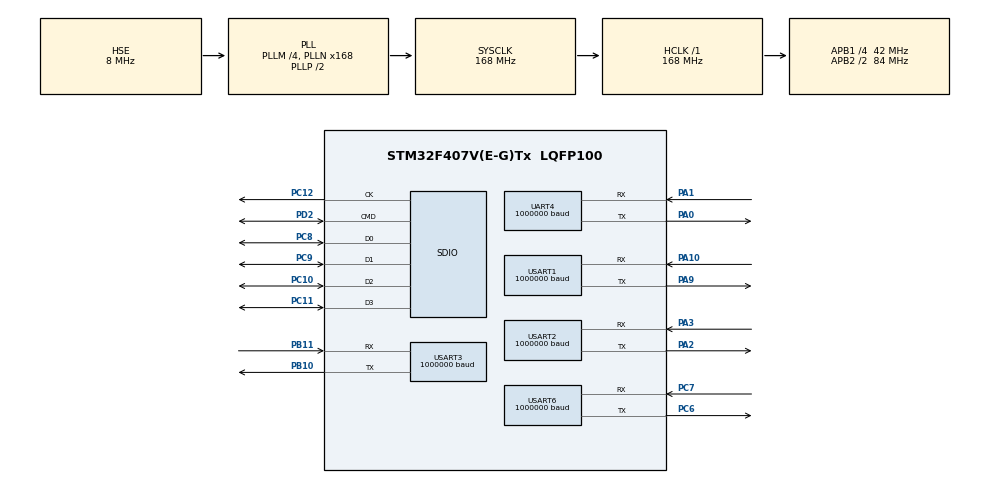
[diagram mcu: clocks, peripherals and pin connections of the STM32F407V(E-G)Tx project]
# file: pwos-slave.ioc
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Dma.Request0=UART4_RX
Dma.Request1=USART1_RX
Dma.Request2=USART2_RX
Dma.Request3=USART3_RX
Dma.Request4=USART6_RX
Dma.Request5=UART4_TX
Dma.Request6=USART1_TX
Dma.Request7=USART2_TX
Dma.Request8=USART3_TX
Dma.Request9=USART6_TX
Dma.UART4_RX.0.Direction=DMA_PERIPH_TO_MEMORY
Dma.UART4_RX.0.FIFOMode=DMA_FIFOMODE_DISABLE
Dma.UART4_RX.0.Instance=DMA1_Stream2
Dma.UART4_RX.0.MemDataAlignment=DMA_MDATAALIGN_BYTE
Dma.UART4_RX.0.MemInc=DMA_MINC_ENABLE
Dma.UART4_RX.0.Mode=DMA_NORMAL
Dma.UART4_RX.0.PeriphDataAlignment=DMA_PDATAALIGN_BYTE
Dma.UART4_RX.0.PeriphInc=DMA_PINC_DISABLE
Dma.UART4_RX.0.Priority=DMA_PRIORITY_VERY_HIGH
Dma.UART4_TX.5.Direction=DMA_MEMORY_TO_PERIPH
Dma.UART4_TX.5.FIFOMode=DMA_FIFOMODE_DISABLE
Dma.UART4_TX.5.Instance=DMA1_Stream4
Dma.UART4_TX.5.MemDataAlignment=DMA_MDATAALIGN_BYTE
Dma.UART4_TX.5.MemInc=DMA_MINC_ENABLE
Dma.UART4_TX.5.Mode=DMA_NORMAL
Dma.UART4_TX.5.PeriphDataAlignment=DMA_PDATAALIGN_BYTE
Dma.UART4_TX.5.PeriphInc=DMA_PINC_DISABLE
Dma.UART4_TX.5.Priority=DMA_PRIORITY_VERY_HIGH
Dma.USART1_RX.1.Direction=DMA_PERIPH_TO_MEMORY
Dma.USART1_RX.1.FIFOMode=DMA_FIFOMODE_DISABLE
Dma.USART1_RX.1.Instance=DMA2_Stream2
Dma.USART1_RX.1.MemDataAlignment=DMA_MDATAALIGN_BYTE
Dma.USART1_RX.1.MemInc=DMA_MINC_ENABLE
Dma.USART1_RX.1.Mode=DMA_NORMAL
Dma.USART1_RX.1.PeriphDataAlignment=DMA_PDATAALIGN_BYTE
Dma.USART1_RX.1.PeriphInc=DMA_PINC_DISABLE
Dma.USART1_RX.1.Priority=DMA_PRIORITY_VERY_HIGH
Dma.USART1_TX.6.Direction=DMA_MEMORY_TO_PERIPH
Dma.USART1_TX.6.FIFOMode=DMA_FIFOMODE_DISABLE
Dma.USART1_TX.6.Instance=DMA2_Stream7
Dma.USART1_TX.6.MemDataAlignment=DMA_MDATAALIGN_BYTE
Dma.USART1_TX.6.MemInc=DMA_MINC_ENABLE
Dma.USART1_TX.6.Mode=DMA_NORMAL
Dma.USART1_TX.6.PeriphDataAlignment=DMA_PDATAALIGN_BYTE
Dma.USART1_TX.6.PeriphInc=DMA_PINC_DISABLE
Dma.USART1_TX.6.Priority=DMA_PRIORITY_VERY_HIGH
Dma.USART2_RX.2.Direction=DMA_PERIPH_TO_MEMORY
Dma.USART2_RX.2.FIFOMode=DMA_FIFOMODE_DISABLE
Dma.USART2_RX.2.Instance=DMA1_Stream5
Dma.USART2_RX.2.MemDataAlignment=DMA_MDATAALIGN_BYTE
Dma.USART2_RX.2.MemInc=DMA_MINC_ENABLE
Dma.USART2_RX.2.Mode=DMA_NORMAL
Dma.USART2_RX.2.PeriphDataAlignment=DMA_PDATAALIGN_BYTE
Dma.USART2_RX.2.PeriphInc=DMA_PINC_DISABLE
Dma.USART2_RX.2.Priority=DMA_PRIORITY_VERY_HIGH
Dma.USART2_TX.7.Direction=DMA_MEMORY_TO_PERIPH
Dma.USART2_TX.7.FIFOMode=DMA_FIFOMODE_DISABLE
Dma.USART2_TX.7.Instance=DMA1_Stream6
Dma.USART2_TX.7.MemDataAlignment=DMA_MDATAALIGN_BYTE
Dma.USART2_TX.7.MemInc=DMA_MINC_ENABLE
Dma.USART2_TX.7.Mode=DMA_NORMAL
Dma.USART2_TX.7.PeriphDataAlignment=DMA_PDATAALIGN_BYTE
Dma.USART2_TX.7.PeriphInc=DMA_PINC_DISABLE
Dma.USART2_TX.7.Priority=DMA_PRIORITY_VERY_HIGH
Dma.USART3_RX.3.Direction=DMA_PERIPH_TO_MEMORY
Dma.USART3_RX.3.FIFOMode=DMA_FIFOMODE_DISABLE
Dma.USART3_RX.3.Instance=DMA1_Stream1
Dma.USART3_RX.3.MemDataAlignment=DMA_MDATAALIGN_BYTE
Dma.USART3_RX.3.MemInc=DMA_MINC_ENABLE
Dma.USART3_RX.3.Mode=DMA_NORMAL
Dma.USART3_RX.3.PeriphDataAlignment=DMA_PDATAALIGN_BYTE
Dma.USART3_RX.3.PeriphInc=DMA_PINC_DISABLE
Dma.USART3_RX.3.Priority=DMA_PRIORITY_VERY_HIGH
Dma.USART3_TX.8.Direction=DMA_MEMORY_TO_PERIPH
Dma.USART3_TX.8.FIFOMode=DMA_FIFOMODE_DISABLE
Dma.USART3_TX.8.Instance=DMA1_Stream3
Dma.USART3_TX.8.MemDataAlignment=DMA_MDATAALIGN_BYTE
Dma.USART3_TX.8.MemInc=DMA_MINC_ENABLE
Dma.USART3_TX.8.Mode=DMA_NORMAL
Dma.USART3_TX.8.PeriphDataAlignment=DMA_PDATAALIGN_BYTE
Dma.USART3_TX.8.PeriphInc=DMA_PINC_DISABLE
Dma.USART3_TX.8.Priority=DMA_PRIORITY_VERY_HIGH
Dma.USART6_RX.4.Direction=DMA_PERIPH_TO_MEMORY
Dma.USART6_RX.4.FIFOMode=DMA_FIFOMODE_DISABLE
Dma.USART6_RX.4.Instance=DMA2_Stream1
Dma.USART6_RX.4.MemDataAlignment=DMA_MDATAALIGN_BYTE
Dma.USART6_RX.4.MemInc=DMA_MINC_ENABLE
Dma.USART6_RX.4.Mode=DMA_NORMAL
Dma.USART6_RX.4.PeriphDataAlignment=DMA_PDATAALIGN_BYTE
Dma.USART6_RX.4.PeriphInc=DMA_PINC_DISABLE
Dma.USART6_RX.4.Priority=DMA_PRIORITY_VERY_HIGH
Dma.USART6_TX.9.Direction=DMA_MEMORY_TO_PERIPH
Dma.USART6_TX.9.FIFOMode=DMA_FIFOMODE_DISABLE
Dma.USART6_TX.9.Instance=DMA2_Stream6
Dma.USART6_TX.9.MemDataAlignment=DMA_MDATAALIGN_BYTE
Dma.USART6_TX.9.MemInc=DMA_MINC_ENABLE
Dma.USART6_TX.9.Mode=DMA_NORMAL
Dma.USART6_TX.9.PeriphDataAlignment=DMA_PDATAALIGN_BYTE
Dma.USART6_TX.9.PeriphInc=DMA_PINC_DISABLE
Dma.USART6_TX.9.Priority=DMA_PRIORITY_VERY_HIGH
FREERTOS.Tasks01=defaultTask,24,128,StartDefaultTask,Default,NULL,Dynamic,NULL,NULL
Mcu.Family=STM32F4
Mcu.Name=STM32F407V(E-G)Tx
Mcu.Package=LQFP100
NVIC.DMA1_Stream1_IRQn=true\:5\:0\:false\:false\:true\:true\:false\:true\:true
NVIC.DMA1_Stream2_IRQn=true\:5\:0\:false\:false\:true\:true\:false\:true\:true
NVIC.DMA1_Stream3_IRQn=true\:5\:0\:false\:false\:true\:true\:false\:true\:true
NVIC.DMA1_Stream4_IRQn=true\:5\:0\:false\:false\:true\:true\:false\:true\:true
NVIC.DMA1_Stream5_IRQn=true\:5\:0\:false\:false\:true\:true\:false\:true\:true
NVIC.DMA1_Stream6_IRQn=true\:5\:0\:false\:false\:true\:true\:false\:true\:true
NVIC.DMA2_Stream1_IRQn=true\:5\:0\:false\:false\:true\:true\:false\:true\:true
NVIC.DMA2_Stream2_IRQn=true\:5\:0\:false\:false\:true\:true\:false\:true\:true
NVIC.DMA2_Stream6_IRQn=true\:5\:0\:false\:false\:true\:true\:false\:true\:true
NVIC.DMA2_Stream7_IRQn=true\:5\:0\:false\:false\:true\:true\:false\:true\:true
NVIC.PriorityGroup=NVIC_PRIORITYGROUP_4
NVIC.TIM1_UP_TIM10_IRQn=true\:15\:0\:false\:false\:true\:false\:false\:true\:true
NVIC.TimeBase=TIM1_UP_TIM10_IRQn
NVIC.TimeBaseIP=TIM1
NVIC.UART4_IRQn=true\:5\:0\:false\:false\:true\:true\:true\:true\:true
NVIC.USART1_IRQn=true\:5\:0\:false\:false\:true\:true\:true\:true\:true
NVIC.USART2_IRQn=true\:5\:0\:false\:false\:true\:true\:true\:true\:true
NVIC.USART3_IRQn=true\:5\:0\:false\:false\:true\:true\:true\:true\:true
NVIC.USART6_IRQn=true\:5\:0\:false\:false\:true\:true\:true\:true\:true
PA0-WKUP.GPIO_PuPd=GPIO_PULLUP
PA0-WKUP.Mode=Asynchronous
PA0-WKUP.Signal=UART4_TX
PA1.GPIO_PuPd=GPIO_PULLUP
PA1.Mode=Asynchronous
PA1.Signal=UART4_RX
PA10.GPIO_PuPd=GPIO_PULLUP
PA10.Mode=Asynchronous
PA10.Signal=USART1_RX
PA13.Mode=Serial_Wire
PA13.Signal=SYS_JTMS-SWDIO
PA14.Mode=Serial_Wire
PA14.Signal=SYS_JTCK-SWCLK
PA2.GPIO_PuPd=GPIO_PULLUP
PA2.Mode=Asynchronous
PA2.Signal=USART2_TX
PA3.GPIO_PuPd=GPIO_PULLUP
PA3.Mode=Asynchronous
PA3.Signal=USART2_RX
PA9.GPIO_PuPd=GPIO_PULLUP
PA9.Mode=Asynchronous
PA9.Signal=USART1_TX
PB10.GPIO_ModeDefaultPP=GPIO_MODE_AF_PP
PB10.GPIO_PuPd=GPIO_PULLUP
PB10.Mode=Asynchronous
PB10.Signal=USART3_TX
PB11.GPIO_PuPd=GPIO_PULLUP
PB11.Mode=Asynchronous
PB11.Signal=USART3_RX
PC10.Mode=SD_4_bits_Wide_bus
PC10.Signal=SDIO_D2
PC11.Mode=SD_4_bits_Wide_bus
PC11.Signal=SDIO_D3
PC12.Mode=SD_4_bits_Wide_bus
PC12.Signal=SDIO_CK
PC6.GPIO_PuPd=GPIO_PULLUP
PC6.Mode=Asynchronous
PC6.Signal=USART6_TX
PC7.GPIO_PuPd=GPIO_PULLUP
PC7.Mode=Asynchronous
PC7.Signal=USART6_RX
PC8.Mode=SD_4_bits_Wide_bus
PC8.Signal=SDIO_D0
PC9.Mode=SD_4_bits_Wide_bus
PC9.Signal=SDIO_D1
PD2.Mode=SD_4_bits_Wide_bus
PD2.Signal=SDIO_CMD
PH0-OSC_IN.Mode=HSE-External-Oscillator
PH0-OSC_IN.Signal=RCC_OSC_IN
PH1-OSC_OUT.Mode=HSE-External-Oscillator
PH1-OSC_OUT.Signal=RCC_OSC_OUT
ProjectManager.HeapSize=0x200
ProjectManager.StackSize=0x400
ProjectManager.TargetToolchain=CMake
RCC.48MHZClocksFreq_Value=48000000
RCC.AHBFreq_Value=168000000
RCC.APB1CLKDivider=RCC_HCLK_DIV4
RCC.APB1Freq_Value=42000000
RCC.APB1TimFreq_Value=84000000
RCC.APB2CLKDivider=RCC_HCLK_DIV2
RCC.APB2Freq_Value=84000000
RCC.APB2TimFreq_Value=168000000
RCC.CortexFreq_Value=168000000
RCC.HCLKFreq_Value=168000000
RCC.HSE_VALUE=8000000
RCC.HSI_VALUE=16000000
RCC.LSE_VALUE=32768
RCC.PLLM=4
RCC.PLLN=168
RCC.PLLQ=7
RCC.PLLSourceVirtual=RCC_PLLSOURCE_HSE
RCC.SYSCLKFreq_VALUE=168000000
RCC.SYSCLKSource=RCC_SYSCLKSOURCE_PLLCLK
RCC.VCOOutputFreq_Value=336000000
SDIO.ClockBypass=SDIO_CLOCK_BYPASS_DISABLE
SDIO.ClockDiv=4
UART4.BaudRate=1000000
UART4.VirtualMode=Asynchronous
USART1.BaudRate=1000000
USART1.VirtualMode=VM_ASYNC
USART2.BaudRate=1000000
USART2.VirtualMode=VM_ASYNC
USART3.BaudRate=1000000
USART3.VirtualMode=VM_ASYNC
USART6.BaudRate=1000000
USART6.VirtualMode=VM_ASYNC
VP_FREERTOS_VS_CMSIS_V2.Mode=CMSIS_V2
VP_SYS_VS_tim1.Mode=TIM1
board=custom

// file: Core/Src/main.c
/* USER CODE BEGIN Header */
/**
 ******************************************************************************
 * @file           : main.c
 * @brief          : Main program body
 ******************************************************************************
 * @attention
 *
 * Copyright (c) 2026 STMicroelectronics.
 * All rights reserved.
 *
 * This software is licensed under terms that can be found in the LICENSE file
 * in the root directory of this software component.
 * If no LICENSE file comes with this software, it is provided AS-IS.
 *
 ******************************************************************************
 */
/* USER CODE END Header */
#include "main.h"
#include "cmsis_os.h"
#include "dma.h"
#include "sdio.h"
#include "usart.h"
#include "gpio.h"

void SystemClock_Config(void);
void MX_FREERTOS_Init(void);

int main(void)
{

  /* MCU Configuration--------------------------------------------------------*/

  /* Reset of all peripherals, Initializes the Flash interface and the Systick. */
  HAL_Init();

  /* Configure the system clock */
  SystemClock_Config();

  /* Initialize all configured peripherals */
  MX_GPIO_Init();
  MX_DMA_Init();
  MX_USART2_UART_Init();
  MX_SDIO_SD_Init();
  MX_USART1_UART_Init();
  MX_UART4_Init();
  MX_USART3_UART_Init();
  MX_USART6_UART_Init();
  /* USER CODE BEGIN 2 */
  /*
   * M2 开始后，main 只保留 CubeMX 外设初始化。
   * 任务、队列、UART DMA 收包入口都在 MX_FREERTOS_Init() 的用户区装配。
   */
  /* USER CODE END 2 */

  /* Init scheduler */
  osKernelInitialize();  /* Call init function for freertos objects (in cmsis_os2.c) */
  MX_FREERTOS_Init();

  /* Start scheduler */
  osKernelStart();

  /* We should never get here as control is now taken by the scheduler */

  /* Infinite loop */
  while (1) {

  }
}

void SystemClock_Config(void)
{
  RCC_OscInitTypeDef RCC_OscInitStruct = {0};
  RCC_ClkInitTypeDef RCC_ClkInitStruct = {0};

  /** Configure the main internal regulator output voltage
  */
  __HAL_RCC_PWR_CLK_ENABLE();
  __HAL_PWR_VOLTAGESCALING_CONFIG(PWR_REGULATOR_VOLTAGE_SCALE1);

  /** Initializes the RCC Oscillators according to the specified parameters
  * in the RCC_OscInitTypeDef structure.
  */
  RCC_OscInitStruct.OscillatorType = RCC_OSCILLATORTYPE_HSE;
  RCC_OscInitStruct.HSEState = RCC_HSE_ON;
  RCC_OscInitStruct.PLL.PLLState = RCC_PLL_ON;
  RCC_OscInitStruct.PLL.PLLSource = RCC_PLLSOURCE_HSE;
  RCC_OscInitStruct.PLL.PLLM = 4;
  RCC_OscInitStruct.PLL.PLLN = 168;
  RCC_OscInitStruct.PLL.PLLP = RCC_PLLP_DIV2;
  RCC_OscInitStruct.PLL.PLLQ = 7;
  if (HAL_RCC_OscConfig(&RCC_OscInitStruct) != HAL_OK)
  {
    Error_Handler();
  }

  /** Initializes the CPU, AHB and APB buses clocks
  */
  RCC_ClkInitStruct.ClockType = RCC_CLOCKTYPE_HCLK|RCC_CLOCKTYPE_SYSCLK
                              |RCC_CLOCKTYPE_PCLK1|RCC_CLOCKTYPE_PCLK2;
  RCC_ClkInitStruct.SYSCLKSource = RCC_SYSCLKSOURCE_PLLCLK;
  RCC_ClkInitStruct.AHBCLKDivider = RCC_SYSCLK_DIV1;
  RCC_ClkInitStruct.APB1CLKDivider = RCC_HCLK_DIV4;
  RCC_ClkInitStruct.APB2CLKDivider = RCC_HCLK_DIV2;

  if (HAL_RCC_ClockConfig(&RCC_ClkInitStruct, FLASH_LATENCY_5) != HAL_OK)
  {
    Error_Handler();
  }
}

void HAL_TIM_PeriodElapsedCallback(TIM_HandleTypeDef *htim)
{
  if (htim->Instance == TIM1)
  {
    HAL_IncTick();
  }
}

void Error_Handler(void)
{
  /* USER CODE BEGIN Error_Handler_Debug */
  /* USART2 属于 mesh 数据面，错误路径不能向链路注入调试文本。 */
  __disable_irq();
  while (1) {
  }
  /* USER CODE END Error_Handler_Debug */
}
#ifdef USE_FULL_ASSERT
/**
  * @brief  Reports the name of the source file and the source line number
  *         where the assert_param error has occurred.
  * @param  file: pointer to the source file name
  * @param  line: assert_param error line source number
  * @retval None
  */
void assert_failed(uint8_t *file, uint32_t line)
{
  /* USER CODE BEGIN 6 */
  /* User can add his own implementation to report the file name and line
     number, ex: printf("Wrong parameters value: file %s on line %d\r\n", file,
     line) */
  /* USER CODE END 6 */
}
#endif /* USE_FULL_ASSERT */

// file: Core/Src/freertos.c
/* USER CODE BEGIN Header */
/**
  ******************************************************************************
  * File Name          : freertos.c
  * Description        : Code for freertos applications
  ******************************************************************************
  * @attention
  *
  * Copyright (c) 2026 STMicroelectronics.
  * All rights reserved.
  *
  * This software is licensed under terms that can be found in the LICENSE file
  * in the root directory of this software component.
  * If no LICENSE file comes with this software, it is provided AS-IS.
  *
  ******************************************************************************
  */
/* USER CODE END Header */

#include "FreeRTOS.h"
#include "task.h"
#include "main.h"
#include "cmsis_os.h"

/* USER CODE BEGIN Includes */
#include "frame_pool.h"
#include "node_control.h"
#include "port_manager.h"
#include "pwos_queues.h"
#include "pwos_tasks.h"
#include "service_runtime.h"
#include "uart_dma_port.h"

/* USER CODE END Includes */

/* Definitions for defaultTask */
osThreadId_t defaultTaskHandle;
const osThreadAttr_t defaultTask_attributes = {
  .name = "defaultTask",
  .stack_size = 128 * 4,
  .priority = (osPriority_t) osPriorityNormal,
};

void StartDefaultTask(void *argument);

void MX_FREERTOS_Init(void); /* (MISRA C 2004 rule 8.1) */

void MX_FREERTOS_Init(void) {
  /* USER CODE BEGIN Init */
  pwos_frame_pool_init();
  if (pwos_queues_init() != 0) {
    Error_Handler();
  }
  pwos_port_manager_init();
  pwos_node_control_init();
  if (pwos_service_runtime_init() != 0) {
    Error_Handler();
  }

  /* USER CODE END Init */

  /* Create the thread(s) */
  /* creation of defaultTask */
  defaultTaskHandle = osThreadNew(StartDefaultTask, NULL, &defaultTask_attributes);

  /* USER CODE BEGIN RTOS_THREADS */
  if (pwos_tasks_start() != 0) {
    Error_Handler();
  }
  if (pwos_uart_dma_ports_init() != 0) {
    Error_Handler();
  }
  /* USER CODE END RTOS_THREADS */

}

void StartDefaultTask(void *argument)
{
  for(;;)
  {
    osDelay(1);
  }
}

/* USER CODE BEGIN Application */
void vApplicationStackOverflowHook(TaskHandle_t xTask, char *pcTaskName)
{
  (void)xTask;
  (void)pcTaskName;
  Error_Handler();
}

void vApplicationMallocFailedHook(void)
{
  Error_Handler();
}

/* USER CODE END Application */
